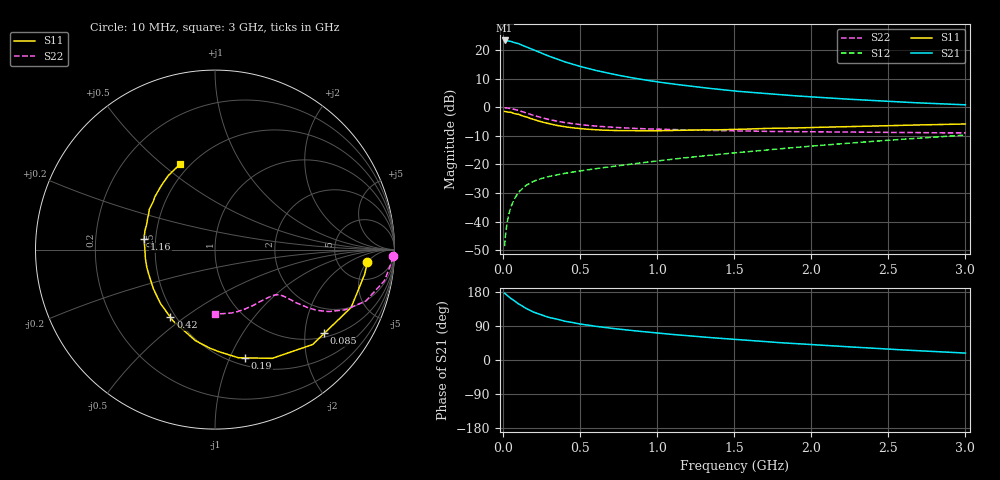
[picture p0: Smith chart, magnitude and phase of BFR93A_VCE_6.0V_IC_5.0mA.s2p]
! Infineon Technologies  Discrete & RF Semiconductors
! BFR93A
! VCE =  6.0 V,  IC =  5.0 mA
! Common Emitter S-Parameters:  Nov 2015
# GHz  S  MA  R  50
!  f  S11  S21  S12  S22
! GHz  MAG  ANG  MAG  ANG  MAG  ANG  MAG  ANG
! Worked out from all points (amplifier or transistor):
!   180 points, 10 MHz to 3 GHz, reference 50 ohm
!   highest |S21| = 23.5 dB at 10 MHz (marker M1)
!   |S21| within 3 dB of that: start of sweep to 184.6 MHz
!   unconditionally stable (mu >= 1): 766.4 MHz to 2.511 GHz
!   at 160 MHz: K = 0.33, MSG = 24.0 dB, |S12| = -27.0 dB
!   at 1.22 GHz: K = 1.11, MAG = 10.4 dB, |S12| = -17.4 dB
!   at 3 GHz: K = 0.94, MSG = 5.3 dB, |S12| = -9.7 dB
!   S11 on the Smith chart (normalised r, x): 10 MHz: 10, -5; 85 MHz: 1.11, -2.51; 190 MHz: 0.58, -1.14; 420 MHz: 0.47, -0.44; 1.16 GHz: 0.43, +0.06; 3 GHz: 0.45, +0.58
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0.01  0.8515 -4.6  14.95 176.2  0.0037 86.6  0.9902 -2.2
0.02  0.8454 -9.3  14.88 172.7  0.0073 84.2  0.9857 -4.3
0.05  0.8241 -23.0  14.41 162.6  0.0178 78.1  0.9599 -10.4
0.085  0.7668 -37.5  13.44 152.8  0.028 70.2  0.9069 -16.2
0.1  0.7587 -44.2  13.16 148.2  0.0325 68.3  0.8873 -18.9
0.15  0.6849 -62.2  11.6 135.7  0.0431 60.9  0.7995 -24.8
0.19  0.6261 -74.4  10.44 128.2  0.0495 57.3  0.7386 -27.7
0.2  0.6163 -77.8  10.18 126.1  0.0511 56.5  0.7237 -28.5
0.24  0.5685 -88.0  9.16 120.0  0.0558 53.9  0.6736 -30.3
0.3  0.5196 -102.0  7.89 112.1  0.0619 52.0  0.6125 -32.0
0.4  0.4608 -120.5  6.305 102.4  0.07 51.0  0.5427 -33.2
0.42  0.4518 -123.3  6.085 101.1  0.0714 51.0  0.5341 -33.3
0.52  0.4218 -137.6  5.082 93.8  0.0786 51.3  0.4941 -33.7
0.6  0.4072 -147.2  4.469 88.9  0.0844 52.1  0.4707 -34.0
0.7  0.396 -156.6  3.888 83.7  0.0918 53.4  0.4512 -34.5
0.9  0.3909 -172.9  3.093 75.1  0.1072 55.6  0.4242 -36.4
1.02  0.3907 179.4  2.764 70.4  0.1171 56.5  0.4149 -37.8
1.16  0.3985 171.6  2.468 65.4  0.1293 57.4  0.4048 -40.1
1.52  0.4133 155.3  1.922 53.7  0.1617 58.6  0.387 -47.1
2.02  0.4469 138.2  1.52 40.1  0.212 58.0  0.373 -59.2
2.52  0.4811 124.2  1.271 28.4  0.2685 55.2  0.3653 -73.4
3  0.5134 112.2  1.112 18.3  0.3276 51.1  0.3584 -90.0
